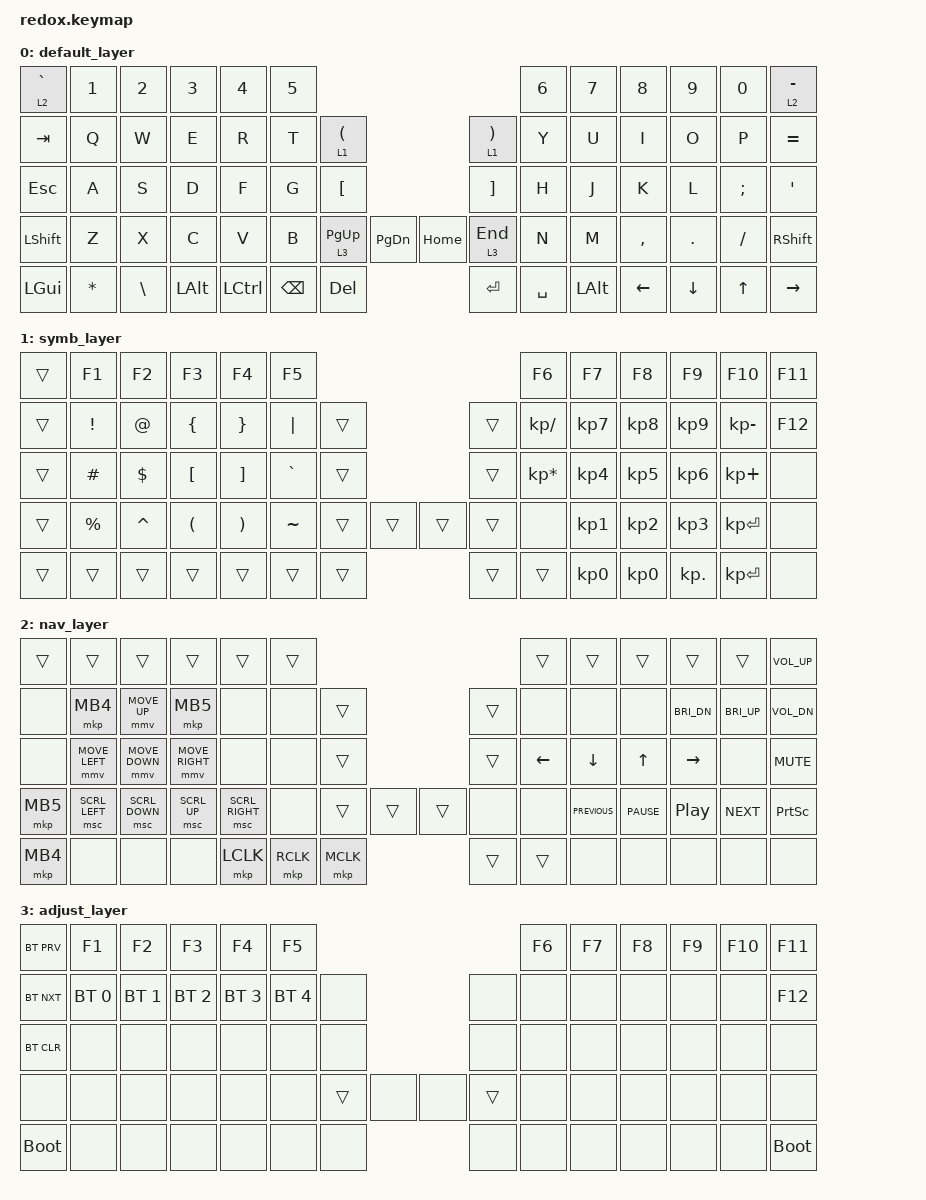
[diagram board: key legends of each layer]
/*
 * Copyright (c) 2021 The ZMK Contributors
 *
 * SPDX-License-Identifier: MIT
 */

#include <behaviors.dtsi>
#include <dt-bindings/zmk/bt.h>
#include <dt-bindings/zmk/ext_power.h>
#include <dt-bindings/zmk/keys.h>
#include <dt-bindings/zmk/outputs.h>
#include <dt-bindings/zmk/pointing.h>

/ {
  keymap {
    compatible =  "zmk,keymap" ;

    default_layer {
            bindings = <
              //┌──────────┬──────────┬──────────┬──────────┬──────────┬──────────┐                                                   ┌──────────┬──────────┬──────────┬──────────┬──────────┬──────────┐
                 &lt 2 GRAVE &kp N1    &kp N2     &kp N3     &kp N4     &kp N5                                                         &kp N6     &kp N7     &kp N8     &kp N9     &kp N0     &lt 2 MINUS
              //├──────────┼──────────┼──────────┼──────────┼──────────┼──────────┼──────────┐                             ┌──────────┼──────────┼──────────┼──────────┼──────────┼──────────┼──────────┤
                 &kp TAB    &kp Q      &kp W      &kp E      &kp R      &kp T      &lt 1 LPAR                               &lt 1 RPAR &kp Y      &kp U      &kp I      &kp O      &kp P      &kp EQUAL
              //├──────────┼──────────┼──────────┼──────────┼──────────┼──────────┼──────────┤                             ├──────────┼──────────┼──────────┼──────────┼──────────┼──────────┼──────────┤
                 &kp ESC    &kp A      &kp S      &kp D      &kp F      &kp G      &kp LBKT                                 &kp RBKT   &kp H      &kp J      &kp K      &kp L      &kp SCLN   &kp QUOT
              //├──────────┼──────────┼──────────┼──────────┼──────────┼──────────┼──────────┼──────────┐       ┌──────────┼──────────┼──────────┼──────────┼──────────┼──────────┼──────────┼──────────┤
                &kp LSHFT   &kp Z      &kp X      &kp C      &kp V      &kp B      &lt 3 PG_UP &kp PG_DN         &kp HOME   &lt 3 END  &kp N      &kp M      &kp COMMA  &kp DOT    &kp FSLH   &kp RSHFT
              //├──────────┼──────────┼──────────┼──────────┼─────┬────┴─────┬────┼──────────┼──────────┤       ├──────────┼──────────┼────┬─────┴────┬─────┼──────────┼──────────┼──────────┼──────────┤
                 &kp LGUI   &kp STAR   &kp BSLH   &kp LALT         &kp LCTRL       &kp BSPC   &kp DEL            &kp RET    &kp SPACE       &kp LALT         &kp LEFT   &kp DOWN   &kp UP     &kp RIGHT
              //└──────────┴──────────┴──────────┴──────────┘     └──────────┘    └──────────┴──────────┘       └──────────┴──────────┘    └──────────┘     └──────────┴──────────┴──────────┴──────────┘
              
            >;
        };

    symb_layer {
            bindings = <
                //┌──────────┬──────────┬──────────┬──────────┬──────────┬──────────┐                                                   ┌──────────┬──────────┬──────────┬──────────┬──────────┬──────────┐
                   &trans     &kp F1     &kp F2     &kp F3     &kp F4     &kp F5                                                         &kp F6     &kp F7     &kp F8     &kp F9     &kp F10    &kp F11
                //├──────────┼──────────┼──────────┼──────────┼──────────┼──────────┼──────────┐                             ┌──────────┼──────────┼──────────┼──────────┼──────────┼──────────┼──────────┤
                   &trans     &kp EXCL   &kp AT     &kp LBRC   &kp RBRC   &kp PIPE   &trans                                   &trans     &kp KP_SLASH &kp KP_N7 &kp KP_N8 &kp KP_N9 &kp KP_MINUS &kp F12
                //├──────────┼──────────┼──────────┼──────────┼──────────┼──────────┼──────────┤                             ├──────────┼──────────┼──────────┼──────────┼──────────┼──────────┼──────────┤
                   &trans     &kp HASH   &kp DLLR   &kp LBKT   &kp RBKT   &kp GRAVE  &trans                                   &trans     &kp KP_ASTERISK &kp KP_N4 &kp KP_N5 &kp KP_N6 &kp KP_PLUS &none
                //├──────────┼──────────┼──────────┼──────────┼──────────┼──────────┼──────────┼──────────┐       ┌──────────┼──────────┼──────────┼──────────┼──────────┼──────────┼──────────┼──────────┤
                   &trans     &kp PRCNT  &kp CARET  &kp LPAR   &kp RPAR   &kp TILDE  &trans     &trans             &trans     &trans     &none      &kp KP_N1  &kp KP_N2  &kp KP_N3  &kp KP_ENTER &none
                //├──────────┼──────────┼──────────┼──────────┼─────┬────┴─────┬────┼──────────┼──────────┤       ├──────────┼──────────┼────┬─────┴────┬─────┼──────────┼──────────┼──────────┼──────────┤
                   &trans     &trans     &trans     &trans           &trans          &trans     &trans             &trans     &trans          &kp KP_N0        &kp KP_N0  &kp KP_DOT &kp KP_ENTER &none
                //└──────────┴──────────┴──────────┴──────────┘     └──────────┘    └──────────┴──────────┘       └──────────┴──────────┘    └──────────┘     └──────────┴──────────┴──────────┴──────────┘

            >;
        };

    nav_layer {
            // mouse support under development
            bindings = <
                //┌──────────┬──────────┬──────────┬──────────┬──────────┬──────────┐                                                   ┌──────────┬──────────┬──────────┬──────────┬──────────┬──────────┐
                   &trans     &trans     &trans     &trans     &trans     &trans                                                         &trans     &trans     &trans     &trans     &trans     &kp C_VOL_UP
                //├──────────┼──────────┼──────────┼──────────┼──────────┼──────────┼──────────┐                             ┌──────────┼──────────┼──────────┼──────────┼──────────┼──────────┼──────────┤
                   &none      &mkp MB4  &mmv MOVE_UP &mkp MB5  &none      &none      &trans                                   &trans     &none      &none      &none      &kp C_BRI_DN &kp C_BRI_UP &kp C_VOL_DN
                //├──────────┼──────────┼──────────┼──────────┼──────────┼──────────┼──────────┤                             ├──────────┼──────────┼──────────┼──────────┼──────────┼──────────┼──────────┤
                   &none &mmv MOVE_LEFT &mmv MOVE_DOWN &mmv MOVE_RIGHT &none &none   &trans                                   &trans     &kp LEFT   &kp DOWN   &kp UP     &kp RIGHT   &none     &kp C_MUTE
                //├──────────┼──────────┼──────────┼──────────┼──────────┼──────────┼──────────┼──────────┐       ┌──────────┼──────────┼──────────┼──────────┼──────────┼──────────┼──────────┼──────────┤
                   &mkp MB5 &msc SCRL_LEFT &msc SCRL_DOWN &msc SCRL_UP &msc SCRL_RIGHT &none &trans &trans         &trans     &none      &none      &kp C_PREVIOUS &kp C_PAUSE &kp C_PLAY_PAUSE &kp C_NEXT &kp PSCRN
                //├──────────┼──────────┼──────────┼──────────┼─────┬────┴─────┬────┼──────────┼──────────┤       ├──────────┼──────────┼────┬─────┴────┬─────┼──────────┼──────────┼──────────┼──────────┤
                   &mkp MB4   &none      &none      &none            &mkp LCLK       &mkp RCLK  &mkp MCLK          &trans     &trans          &none            &none      &none      &none      &none
                //└──────────┴──────────┴──────────┴──────────┘     └──────────┘    └──────────┴──────────┘       └──────────┴──────────┘    └──────────┘     └──────────┴──────────┴──────────┴──────────┘
            >;
        };

    adjust_layer {
          bindings = <
              //┌──────────┬──────────┬──────────┬──────────┬──────────┬──────────┐                                                   ┌──────────┬──────────┬──────────┬──────────┬──────────┬──────────┐
                 &bt BT_PRV &kp F1     &kp F2     &kp F3     &kp F4     &kp F5                                                         &kp F6     &kp F7     &kp F8     &kp F9     &kp F10    &kp F11
              //├──────────┼──────────┼──────────┼──────────┼──────────┼──────────┼──────────┐                             ┌──────────┼──────────┼──────────┼──────────┼──────────┼──────────┼──────────┤
                 &bt BT_NXT &bt BT_SEL 0 &bt BT_SEL 1 &bt BT_SEL 2 &bt BT_SEL 3 &bt BT_SEL 4 &none                          &none      &none      &none      &none      &none      &none      &kp F12
              //├──────────┼──────────┼──────────┼──────────┼──────────┼──────────┼──────────┤                             ├──────────┼──────────┼──────────┼──────────┼──────────┼──────────┼──────────┤
                 &bt BT_CLR &none      &none      &none      &none      &none      &none                                    &none      &none      &none      &none      &none      &none      &none
              //├──────────┼──────────┼──────────┼──────────┼──────────┼──────────┼──────────┼──────────┐       ┌──────────┼──────────┼──────────┼──────────┼──────────┼──────────┼──────────┼──────────┤
                 &none      &none      &none      &none      &none      &none      &trans     &none              &none      &trans     &none      &none      &none      &none      &none      &none
              //├──────────┼──────────┼──────────┼──────────┼─────┬────┴─────┬────┼──────────┼──────────┤       ├──────────┼──────────┼────┬─────┴────┬─────┼──────────┼──────────┼──────────┼──────────┤
                 &bootloader &none     &none      &none            &none           &none      &none              &none      &none           &none            &none      &none      &none      &bootloader
              //└──────────┴──────────┴──────────┴──────────┘     └──────────┘    └──────────┴──────────┘       └──────────┴──────────┘    └──────────┘     └──────────┴──────────┴──────────┴──────────┘
            >;
        };
    };
};
